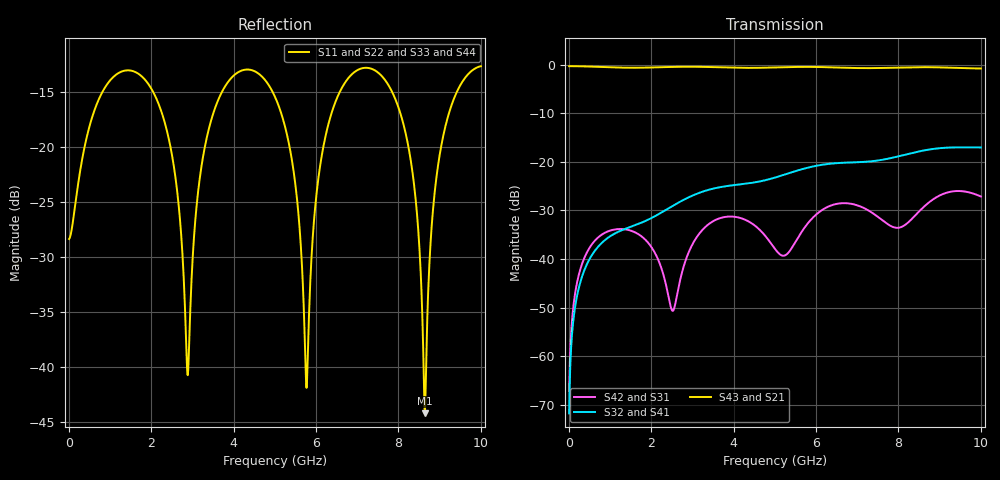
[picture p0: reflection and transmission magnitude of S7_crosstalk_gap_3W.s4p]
! kicad_em_sim: S-parameters of 4 ports, openEMS
# Hz S RI R 50
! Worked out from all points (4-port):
!   1000 points, 10 MHz to 10 GHz, reference 50 ohm
!   strongest paths, dB at 10 MHz, 2.51 GHz, 5.01 GHz, 7.51 GHz, 10 GHz:
!     S43: -0.3, -0.5, -0.6, -0.7, -0.8
!     S21: -0.3, -0.5, -0.6, -0.7, -0.8
!     S32: -71.7, -29.1, -23.2, -19.7, -17.0
!     S41: -71.7, -29.1, -23.2, -19.7, -17.0
!     S42: -67.1, -50.6, -38.0, -31.4, -27.1
!     S31: -67.1, -50.6, -38.0, -31.4, -27.1
!   lowest |S11| = -44.2 dB at 8.64 GHz (marker M1), VSWR 1.01, Z = 50.6 - j0.132 ohm
!   |S11| at or under -10 dB: start of sweep to end of sweep
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1e7  -0.038 0.00294  0.9617 -0.0112  -0.000329 0.000293  -0.000158 -0.000207
     0.9617 -0.0112  -0.038 0.00294  -0.000158 -0.000207  -0.00033 0.000293
     -0.000329 0.000293  -0.000157 -0.000207  -0.038 0.00294  0.9617 -0.0112
     -0.000158 -0.000207  -0.000329 0.000293  0.9617 -0.0112  -0.038 0.00294
7.8e8  0.1087 0.1327  0.588 -0.7382  0.0153 0.00872  -0.013 -0.00608
       0.588 -0.7382  0.1087 0.1327  -0.013 -0.00608  0.0153 0.00872
       0.0153 0.00872  -0.013 -0.00608  0.1087 0.1327  0.588 -0.7382
       -0.013 -0.00608  0.0153 0.00872  0.588 -0.7382  0.1087 0.1327
2.63e9  0.0263 -0.0574  -0.9305 -0.1757  -0.00277 0.0033  -0.00587 0.0369
        -0.9305 -0.1757  0.0263 -0.0574  -0.00587 0.0369  -0.00277 0.0033
        -0.00277 0.0033  -0.00587 0.0369  0.0263 -0.0574  -0.9305 -0.1757
        -0.00587 0.0369  -0.00277 0.0033  -0.9305 -0.1757  0.0263 -0.0574
5.58e9  0.0127 -0.0463  0.9449 0.00228  -0.00466 0.0164  -0.000162 -0.0821
        0.9449 0.00228  0.0127 -0.0463  -0.000162 -0.0821  -0.00466 0.0164
        -0.00466 0.0164  -0.000162 -0.0821  0.0127 -0.0463  0.9449 0.00228
        -0.000162 -0.0821  -0.00466 0.0164  0.9449 0.00228  0.0127 -0.0463
7.64e9  0.1663 -0.1189  -0.6268 -0.677  -0.0107 -0.0221  -0.0754 0.0738
        -0.6268 -0.677  0.1663 -0.1189  -0.0754 0.0738  -0.0107 -0.0221
        -0.0107 -0.0221  -0.0754 0.0738  0.1663 -0.1189  -0.6268 -0.677
        -0.0754 0.0738  -0.0107 -0.0221  -0.6268 -0.677  0.1663 -0.1189
8.64e9  0.00603 -0.00131  -0.8925 0.2939  0.00803 0.0343  0.0416 0.1246
        -0.8925 0.2939  0.00603 -0.00131  0.0416 0.1246  0.00803 0.0343
        0.00803 0.0343  0.0416 0.1246  0.00603 -0.00131  -0.8925 0.2939
        0.0416 0.1246  0.00803 0.0343  -0.8925 0.2939  0.00603 -0.00131
1e10  0.2286 -0.0381  0.2588 0.8732  0.0155 -0.0411  0.132 -0.0482
      0.2588 0.8732  0.2286 -0.0381  0.132 -0.0482  0.0155 -0.0411
      0.0155 -0.0411  0.132 -0.0482  0.2286 -0.0381  0.2588 0.8732
      0.132 -0.0482  0.0155 -0.0411  0.2588 0.8732  0.2286 -0.0381
